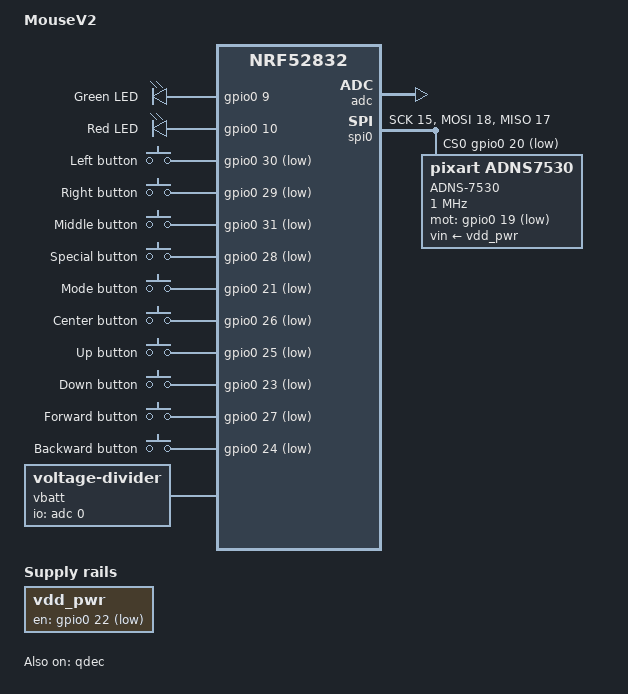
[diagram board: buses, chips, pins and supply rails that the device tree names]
// Copyright (c) 2021 Nordic Semiconductor ASA
// SPDX-License-Identifier: Apache-2.0

/dts-v1/;
#include <nordic/nrf52832_qfaa.dtsi>

/ {
	model = "MouseV2";
	compatible = "taras-radchenko,mousev2";

	chosen {
		zephyr,sram = &sram0;
		zephyr,flash = &flash0;
		zephyr,code-partition = &slot0_partition;
	};

	leds {
		compatible = "gpio-leds";
		led_green: led_green {
			gpios = <&gpio0 9 GPIO_ACTIVE_HIGH>;
			label = "Green LED";
		};
		led_red: led_red {
			gpios = <&gpio0 10 GPIO_ACTIVE_HIGH>;
			label = "Red LED";
		};
	};

	buttons {
		compatible = "gpio-keys";

		/* Main buttons */
		button_l: button_l {
			gpios = <&gpio0 30 (GPIO_PULL_UP | GPIO_ACTIVE_LOW)>;
			label = "Left button";
		};
		button_r: button_r {
			gpios = <&gpio0 29 (GPIO_PULL_UP | GPIO_ACTIVE_LOW)>;
			label = "Right button";
		};
		button_m: button_m {
			gpios = <&gpio0 31 (GPIO_PULL_UP | GPIO_ACTIVE_LOW)>;
			label = "Middle button";
		};
		button_spec: button_spec {
			gpios = <&gpio0 28 (GPIO_PULL_UP | GPIO_ACTIVE_LOW)>;
			label = "Special button";
		};
		button_mode: button_mode {
			gpios = <&gpio0 21 (GPIO_PULL_UP | GPIO_ACTIVE_LOW)>;
			label = "Mode button";
		};

		/* Thumb buttons */
		button_center: button_center {
			gpios = <&gpio0 26 (GPIO_PULL_UP | GPIO_ACTIVE_LOW)>;
			label = "Center button";
		};
		button_up: button_up {
			gpios = <&gpio0 25 (GPIO_PULL_UP | GPIO_ACTIVE_LOW)>;
			label = "Up button";
		};
		button_down: button_down {
			gpios = <&gpio0 23 (GPIO_PULL_UP | GPIO_ACTIVE_LOW)>;
			label = "Down button";
		};
		button_fwd: button_fwd {
			gpios = <&gpio0 27 (GPIO_PULL_UP | GPIO_ACTIVE_LOW)>;
			label = "Forward button";
		};
		button_bwd: button_bwd {
			gpios = <&gpio0 24 (GPIO_PULL_UP | GPIO_ACTIVE_LOW)>;
			label = "Backward button";
		};
	};

	vbatt {
		compatible = "voltage-divider";
		io-channels = <&adc 0>;
		output-ohms = <2000000>;
		full-ohms = <3000000>;
	};

	vdd_pwr: vdd-switch {
		compatible = "regulator-fixed-sync", "regulator-fixed";
		label = "VDD switch";
		regulator-name = "vdd-switch";
		enable-gpios = <&gpio0 22 GPIO_ACTIVE_LOW>;
		startup-delay-us = <100>;
		regulator-boot-on;
	};
};

&gpiote {
	status = "okay";
};

&gpio0 {
	status = "okay";
};

&adc {
	status = "okay";
};

&qdec {
	status = "okay";
	a-pin = <14>;
	b-pin = <12>;
	// value from sensor is returned in degrees, so make one step equal to one degree to get actual steps
	steps = <360>;
	led-pre = <0>;
};

&spi0 {
	status = "okay";
	compatible = "nordic,nrf-spi";
	sck-pin = <15>;
	miso-pin = <17>;
	mosi-pin = <18>;
	cs-gpios = <&gpio0 20 GPIO_ACTIVE_LOW>, <&gpio0 11 GPIO_ACTIVE_LOW>;  // ADNS (20), AVR(11)

	adns7530@0 {
		compatible = "pixart,adns7530";
		reg = <0>;
		mot-gpios = <&gpio0 19 GPIO_ACTIVE_LOW>;
		spi-max-frequency = <1000000>;
		label = "ADNS-7530";
		vin-supply = <&vdd_pwr>;
	};
};

&flash0 {
	partitions {
		compatible = "fixed-partitions";
		#address-cells = <1>;
		#size-cells = <1>;

		boot_partition: partition@0 {
			label = "mcuboot";
			reg = <0x0 0xc000>;
		};
		slot0_partition: partition@c000 {
			label = "image-0";
			reg = <0xc000 0x32000>;
		};
		slot1_partition: partition@3e000 {
			label = "image-1";
			reg = <0x3e000 0x32000>;
		};
		scratch_partition: partition@70000 {
			label = "image-scratch";
			reg = <0x70000 0xa000>;
		};
		storage_partition: partition@7a000 {
			label = "storage";
			reg = <0x7a000 0x6000>;
		};
	};
};
